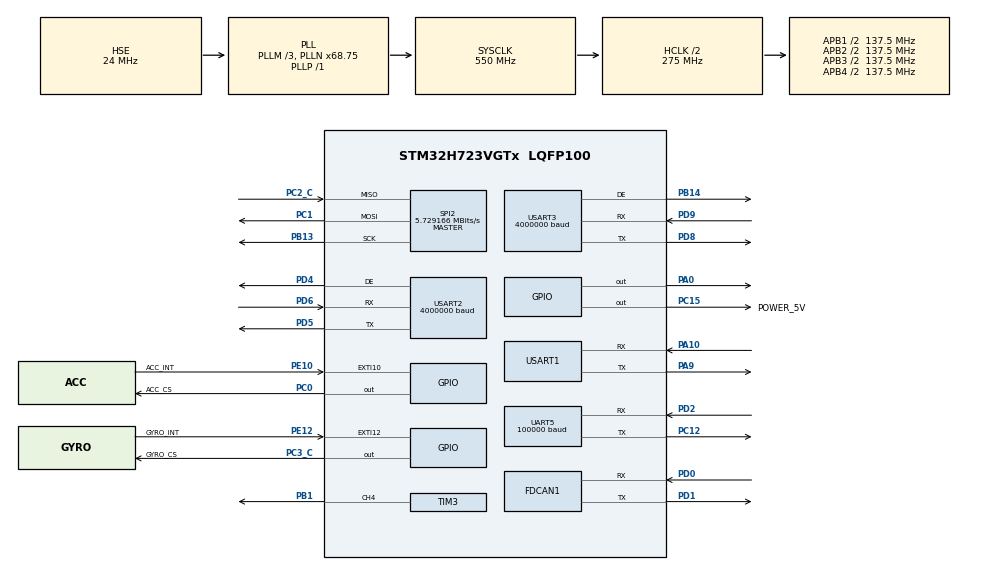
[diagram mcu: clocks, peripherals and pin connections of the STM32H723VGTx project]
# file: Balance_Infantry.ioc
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CORTEX_M7.AccessPermission-Cortex_Memory_Protection_Unit_Region0_Settings=MPU_REGION_FULL_ACCESS
CORTEX_M7.BaseAddress-Cortex_Memory_Protection_Unit_Region0_Settings=0x24000000
CORTEX_M7.CPU_DCache=Enabled
CORTEX_M7.CPU_ICache=Enabled
CORTEX_M7.Enable-Cortex_Memory_Protection_Unit_Region0_Settings=MPU_REGION_ENABLE
CORTEX_M7.IsBufferable-Cortex_Memory_Protection_Unit_Region0_Settings=MPU_ACCESS_BUFFERABLE
CORTEX_M7.IsCacheable-Cortex_Memory_Protection_Unit_Region0_Settings=MPU_ACCESS_CACHEABLE
CORTEX_M7.MPU_Control=MPU_PRIVILEGED_DEFAULT
CORTEX_M7.Size-Cortex_Memory_Protection_Unit_Region0_Settings=MPU_REGION_SIZE_512KB
CORTEX_M7.TypeExtField-Cortex_Memory_Protection_Unit_Region0_Settings=MPU_TEX_LEVEL0
Dma.Request0=SPI2_RX
Dma.Request1=SPI2_TX
Dma.Request2=USART2_RX
Dma.Request3=USART2_TX
Dma.Request4=USART3_RX
Dma.Request5=USART3_TX
Dma.Request6=UART5_RX
Dma.Request7=USART1_TX
Dma.Request8=USART1_RX
Dma.SPI2_RX.0.Direction=DMA_PERIPH_TO_MEMORY
Dma.SPI2_RX.0.EventEnable=DISABLE
Dma.SPI2_RX.0.FIFOMode=DMA_FIFOMODE_DISABLE
Dma.SPI2_RX.0.Instance=DMA1_Stream0
Dma.SPI2_RX.0.MemDataAlignment=DMA_MDATAALIGN_BYTE
Dma.SPI2_RX.0.MemInc=DMA_MINC_ENABLE
Dma.SPI2_RX.0.Mode=DMA_NORMAL
Dma.SPI2_RX.0.PeriphDataAlignment=DMA_PDATAALIGN_BYTE
Dma.SPI2_RX.0.PeriphInc=DMA_PINC_DISABLE
Dma.SPI2_RX.0.Polarity=HAL_DMAMUX_REQ_GEN_RISING
Dma.SPI2_RX.0.Priority=DMA_PRIORITY_VERY_HIGH
Dma.SPI2_RX.0.RequestNumber=1
Dma.SPI2_RX.0.SignalID=NONE
Dma.SPI2_RX.0.SyncEnable=DISABLE
Dma.SPI2_RX.0.SyncPolarity=HAL_DMAMUX_SYNC_NO_EVENT
Dma.SPI2_RX.0.SyncRequestNumber=1
Dma.SPI2_RX.0.SyncSignalID=NONE
Dma.SPI2_TX.1.Direction=DMA_MEMORY_TO_PERIPH
Dma.SPI2_TX.1.EventEnable=DISABLE
Dma.SPI2_TX.1.FIFOMode=DMA_FIFOMODE_DISABLE
Dma.SPI2_TX.1.Instance=DMA1_Stream1
Dma.SPI2_TX.1.MemDataAlignment=DMA_MDATAALIGN_BYTE
Dma.SPI2_TX.1.MemInc=DMA_MINC_ENABLE
Dma.SPI2_TX.1.Mode=DMA_NORMAL
Dma.SPI2_TX.1.PeriphDataAlignment=DMA_PDATAALIGN_BYTE
Dma.SPI2_TX.1.PeriphInc=DMA_PINC_DISABLE
Dma.SPI2_TX.1.Polarity=HAL_DMAMUX_REQ_GEN_RISING
Dma.SPI2_TX.1.Priority=DMA_PRIORITY_HIGH
Dma.SPI2_TX.1.RequestNumber=1
Dma.SPI2_TX.1.SignalID=NONE
Dma.SPI2_TX.1.SyncEnable=DISABLE
Dma.SPI2_TX.1.SyncPolarity=HAL_DMAMUX_SYNC_NO_EVENT
Dma.SPI2_TX.1.SyncRequestNumber=1
Dma.SPI2_TX.1.SyncSignalID=NONE
Dma.UART5_RX.6.Direction=DMA_PERIPH_TO_MEMORY
Dma.UART5_RX.6.EventEnable=DISABLE
Dma.UART5_RX.6.FIFOMode=DMA_FIFOMODE_DISABLE
Dma.UART5_RX.6.Instance=DMA1_Stream6
Dma.UART5_RX.6.MemDataAlignment=DMA_MDATAALIGN_BYTE
Dma.UART5_RX.6.MemInc=DMA_MINC_ENABLE
Dma.UART5_RX.6.Mode=DMA_NORMAL
Dma.UART5_RX.6.PeriphDataAlignment=DMA_PDATAALIGN_BYTE
Dma.UART5_RX.6.PeriphInc=DMA_PINC_DISABLE
Dma.UART5_RX.6.Polarity=HAL_DMAMUX_REQ_GEN_RISING
Dma.UART5_RX.6.Priority=DMA_PRIORITY_HIGH
Dma.UART5_RX.6.RequestNumber=1
Dma.UART5_RX.6.SignalID=NONE
Dma.UART5_RX.6.SyncEnable=DISABLE
Dma.UART5_RX.6.SyncPolarity=HAL_DMAMUX_SYNC_NO_EVENT
Dma.UART5_RX.6.SyncRequestNumber=1
Dma.UART5_RX.6.SyncSignalID=NONE
Dma.USART1_RX.8.Direction=DMA_PERIPH_TO_MEMORY
Dma.USART1_RX.8.EventEnable=DISABLE
Dma.USART1_RX.8.FIFOMode=DMA_FIFOMODE_DISABLE
Dma.USART1_RX.8.Instance=DMA2_Stream0
Dma.USART1_RX.8.MemDataAlignment=DMA_MDATAALIGN_BYTE
Dma.USART1_RX.8.MemInc=DMA_MINC_ENABLE
Dma.USART1_RX.8.Mode=DMA_NORMAL
Dma.USART1_RX.8.PeriphDataAlignment=DMA_PDATAALIGN_BYTE
Dma.USART1_RX.8.PeriphInc=DMA_PINC_DISABLE
Dma.USART1_RX.8.Polarity=HAL_DMAMUX_REQ_GEN_RISING
Dma.USART1_RX.8.Priority=DMA_PRIORITY_LOW
Dma.USART1_RX.8.RequestNumber=1
Dma.USART1_RX.8.SignalID=NONE
Dma.USART1_RX.8.SyncEnable=DISABLE
Dma.USART1_RX.8.SyncPolarity=HAL_DMAMUX_SYNC_NO_EVENT
Dma.USART1_RX.8.SyncRequestNumber=1
Dma.USART1_RX.8.SyncSignalID=NONE
Dma.USART1_TX.7.Direction=DMA_MEMORY_TO_PERIPH
Dma.USART1_TX.7.EventEnable=DISABLE
Dma.USART1_TX.7.FIFOMode=DMA_FIFOMODE_DISABLE
Dma.USART1_TX.7.Instance=DMA1_Stream7
Dma.USART1_TX.7.MemDataAlignment=DMA_MDATAALIGN_BYTE
Dma.USART1_TX.7.MemInc=DMA_MINC_ENABLE
Dma.USART1_TX.7.Mode=DMA_NORMAL
Dma.USART1_TX.7.PeriphDataAlignment=DMA_PDATAALIGN_BYTE
Dma.USART1_TX.7.PeriphInc=DMA_PINC_DISABLE
Dma.USART1_TX.7.Polarity=HAL_DMAMUX_REQ_GEN_RISING
Dma.USART1_TX.7.Priority=DMA_PRIORITY_LOW
Dma.USART1_TX.7.RequestNumber=1
Dma.USART1_TX.7.SignalID=NONE
Dma.USART1_TX.7.SyncEnable=DISABLE
Dma.USART1_TX.7.SyncPolarity=HAL_DMAMUX_SYNC_NO_EVENT
Dma.USART1_TX.7.SyncRequestNumber=1
Dma.USART1_TX.7.SyncSignalID=NONE
Dma.USART2_RX.2.Direction=DMA_PERIPH_TO_MEMORY
Dma.USART2_RX.2.EventEnable=DISABLE
Dma.USART2_RX.2.FIFOMode=DMA_FIFOMODE_DISABLE
Dma.USART2_RX.2.Instance=DMA1_Stream2
Dma.USART2_RX.2.MemDataAlignment=DMA_MDATAALIGN_BYTE
Dma.USART2_RX.2.MemInc=DMA_MINC_ENABLE
Dma.USART2_RX.2.Mode=DMA_NORMAL
Dma.USART2_RX.2.PeriphDataAlignment=DMA_PDATAALIGN_BYTE
Dma.USART2_RX.2.PeriphInc=DMA_PINC_DISABLE
Dma.USART2_RX.2.Polarity=HAL_DMAMUX_REQ_GEN_RISING
Dma.USART2_RX.2.Priority=DMA_PRIORITY_LOW
Dma.USART2_RX.2.RequestNumber=1
Dma.USART2_RX.2.SignalID=NONE
Dma.USART2_RX.2.SyncEnable=DISABLE
Dma.USART2_RX.2.SyncPolarity=HAL_DMAMUX_SYNC_NO_EVENT
Dma.USART2_RX.2.SyncRequestNumber=1
Dma.USART2_RX.2.SyncSignalID=NONE
Dma.USART2_TX.3.Direction=DMA_MEMORY_TO_PERIPH
Dma.USART2_TX.3.EventEnable=DISABLE
Dma.USART2_TX.3.FIFOMode=DMA_FIFOMODE_DISABLE
Dma.USART2_TX.3.Instance=DMA1_Stream3
Dma.USART2_TX.3.MemDataAlignment=DMA_MDATAALIGN_BYTE
Dma.USART2_TX.3.MemInc=DMA_MINC_ENABLE
Dma.USART2_TX.3.Mode=DMA_NORMAL
Dma.USART2_TX.3.PeriphDataAlignment=DMA_PDATAALIGN_BYTE
Dma.USART2_TX.3.PeriphInc=DMA_PINC_DISABLE
Dma.USART2_TX.3.Polarity=HAL_DMAMUX_REQ_GEN_RISING
Dma.USART2_TX.3.Priority=DMA_PRIORITY_LOW
Dma.USART2_TX.3.RequestNumber=1
Dma.USART2_TX.3.SignalID=NONE
Dma.USART2_TX.3.SyncEnable=DISABLE
Dma.USART2_TX.3.SyncPolarity=HAL_DMAMUX_SYNC_NO_EVENT
Dma.USART2_TX.3.SyncRequestNumber=1
Dma.USART2_TX.3.SyncSignalID=NONE
Dma.USART3_RX.4.Direction=DMA_PERIPH_TO_MEMORY
Dma.USART3_RX.4.EventEnable=DISABLE
Dma.USART3_RX.4.FIFOMode=DMA_FIFOMODE_DISABLE
Dma.USART3_RX.4.Instance=DMA1_Stream4
Dma.USART3_RX.4.MemDataAlignment=DMA_MDATAALIGN_BYTE
Dma.USART3_RX.4.MemInc=DMA_MINC_ENABLE
Dma.USART3_RX.4.Mode=DMA_NORMAL
Dma.USART3_RX.4.PeriphDataAlignment=DMA_PDATAALIGN_BYTE
Dma.USART3_RX.4.PeriphInc=DMA_PINC_DISABLE
Dma.USART3_RX.4.Polarity=HAL_DMAMUX_REQ_GEN_RISING
Dma.USART3_RX.4.Priority=DMA_PRIORITY_LOW
Dma.USART3_RX.4.RequestNumber=1
Dma.USART3_RX.4.SignalID=NONE
Dma.USART3_RX.4.SyncEnable=DISABLE
Dma.USART3_RX.4.SyncPolarity=HAL_DMAMUX_SYNC_NO_EVENT
Dma.USART3_RX.4.SyncRequestNumber=1
Dma.USART3_RX.4.SyncSignalID=NONE
Dma.USART3_TX.5.Direction=DMA_MEMORY_TO_PERIPH
Dma.USART3_TX.5.EventEnable=DISABLE
Dma.USART3_TX.5.FIFOMode=DMA_FIFOMODE_DISABLE
Dma.USART3_TX.5.Instance=DMA1_Stream5
Dma.USART3_TX.5.MemDataAlignment=DMA_MDATAALIGN_BYTE
Dma.USART3_TX.5.MemInc=DMA_MINC_ENABLE
Dma.USART3_TX.5.Mode=DMA_NORMAL
Dma.USART3_TX.5.PeriphDataAlignment=DMA_PDATAALIGN_BYTE
Dma.USART3_TX.5.PeriphInc=DMA_PINC_DISABLE
Dma.USART3_TX.5.Polarity=HAL_DMAMUX_REQ_GEN_RISING
Dma.USART3_TX.5.Priority=DMA_PRIORITY_LOW
Dma.USART3_TX.5.RequestNumber=1
Dma.USART3_TX.5.SignalID=NONE
Dma.USART3_TX.5.SyncEnable=DISABLE
Dma.USART3_TX.5.SyncPolarity=HAL_DMAMUX_SYNC_NO_EVENT
Dma.USART3_TX.5.SyncRequestNumber=1
Dma.USART3_TX.5.SyncSignalID=NONE
FDCAN1.CalculateBaudRateNominal=1000000
FDCAN1.CalculateTimeBitNominal=1000
FDCAN1.CalculateTimeQuantumNominal=83.33333333333333
FDCAN1.NominalPrescaler=8
FDCAN1.NominalTimeSeg1=4
FDCAN1.NominalTimeSeg2=7
FDCAN1.RxFifo0ElmtsNbr=32
FDCAN1.TxFifoQueueElmtsNbr=16
FREERTOS.BinarySemaphores01=imuBinarySem01,Static,imuBinarySemControlBlock
FREERTOS.INCLUDE_vTaskDelayUntil=1
FREERTOS.MEMORY_ALLOCATION=2
FREERTOS.Tasks01=defaultTask,0,128,StartDefaultTask,Default,NULL,Static,defaultTaskBuffer,defaultTaskControlBlock
FREERTOS.configTOTAL_HEAP_SIZE=30720
Mcu.Family=STM32H7
Mcu.Name=STM32H723VGTx
Mcu.Package=LQFP100
NVIC.DMA1_Stream0_IRQn=true\:6\:0\:true\:false\:true\:true\:false\:true\:true
NVIC.DMA1_Stream1_IRQn=true\:6\:0\:true\:false\:true\:true\:false\:true\:true
NVIC.DMA1_Stream2_IRQn=true\:5\:0\:false\:false\:true\:true\:false\:true\:true
NVIC.DMA1_Stream3_IRQn=true\:5\:0\:false\:false\:true\:true\:false\:true\:true
NVIC.DMA1_Stream4_IRQn=true\:5\:0\:false\:false\:true\:true\:false\:true\:true
NVIC.DMA1_Stream5_IRQn=true\:5\:0\:false\:false\:true\:true\:false\:true\:true
NVIC.DMA1_Stream6_IRQn=true\:5\:0\:false\:false\:true\:true\:false\:true\:true
NVIC.DMA1_Stream7_IRQn=true\:5\:0\:false\:false\:true\:true\:false\:true\:true
NVIC.DMA2_Stream0_IRQn=true\:5\:0\:false\:false\:true\:true\:false\:true\:true
NVIC.EXTI15_10_IRQn=true\:6\:0\:true\:false\:true\:true\:true\:true\:true
NVIC.FDCAN1_IT0_IRQn=true\:5\:0\:false\:false\:true\:true\:true\:true\:true
NVIC.FDCAN1_IT1_IRQn=true\:5\:0\:false\:false\:true\:true\:true\:true\:true
NVIC.PriorityGroup=NVIC_PRIORITYGROUP_4
NVIC.SPI2_IRQn=true\:6\:0\:true\:false\:true\:true\:false\:true\:true
NVIC.TIM1_UP_IRQn=true\:15\:0\:false\:false\:true\:false\:false\:true\:true
NVIC.TimeBase=TIM1_UP_IRQn
NVIC.TimeBaseIP=TIM1
NVIC.UART5_IRQn=true\:5\:0\:false\:false\:true\:true\:true\:true\:true
NVIC.USART1_IRQn=true\:5\:0\:false\:false\:true\:true\:true\:true\:true
NVIC.USART2_IRQn=true\:5\:0\:false\:false\:true\:true\:true\:true\:true
NVIC.USART3_IRQn=true\:5\:0\:false\:false\:true\:true\:true\:true\:true
PA0.GPIO_Speed=GPIO_SPEED_FREQ_VERY_HIGH
PA0.Signal=GPIO_Output
PA10.Mode=Asynchronous
PA10.Signal=USART1_RX
PA13(JTMS/SWDIO).Mode=Serial_Wire
PA13(JTMS/SWDIO).Signal=DEBUG_JTMS-SWDIO
PA14(JTCK/SWCLK).Mode=Serial_Wire
PA14(JTCK/SWCLK).Signal=DEBUG_JTCK-SWCLK
PA9.Mode=Asynchronous
PA9.Signal=USART1_TX
PB1.Signal=S_TIM3_CH4
PB13.GPIO_Speed=GPIO_SPEED_FREQ_VERY_HIGH
PB13.Mode=Full_Duplex_Master
PB13.Signal=SPI2_SCK
PB14.GPIO_Speed=GPIO_SPEED_FREQ_VERY_HIGH
PB14.Mode=Hardware Flow Control (RS485)
PB14.Signal=USART3_DE
PC0.GPIO_Label=ACC_CS
PC0.GPIO_Speed=GPIO_SPEED_FREQ_VERY_HIGH
PC0.PinState=GPIO_PIN_SET
PC0.Signal=GPIO_Output
PC1.GPIO_Speed=GPIO_SPEED_FREQ_VERY_HIGH
PC1.Mode=Full_Duplex_Master
PC1.Signal=SPI2_MOSI
PC12.GPIO_Speed=GPIO_SPEED_FREQ_VERY_HIGH
PC12.Mode=Asynchronous
PC12.Signal=UART5_TX
PC15-OSC32_OUT.GPIO_Label=POWER_5V
PC15-OSC32_OUT.PinState=GPIO_PIN_SET
PC15-OSC32_OUT.Signal=GPIO_Output
PC2_C.GPIO_Speed=GPIO_SPEED_FREQ_VERY_HIGH
PC2_C.Mode=Full_Duplex_Master
PC2_C.Signal=SPI2_MISO
PC3_C.GPIO_Label=GYRO_CS
PC3_C.GPIO_Speed=GPIO_SPEED_FREQ_VERY_HIGH
PC3_C.PinState=GPIO_PIN_SET
PC3_C.Signal=GPIO_Output
PD0.Mode=FDCAN_Activate
PD0.Signal=FDCAN1_RX
PD1.Mode=FDCAN_Activate
PD1.Signal=FDCAN1_TX
PD2.GPIO_Speed=GPIO_SPEED_FREQ_VERY_HIGH
PD2.Mode=Asynchronous
PD2.Signal=UART5_RX
PD4.GPIO_Speed=GPIO_SPEED_FREQ_VERY_HIGH
PD4.Mode=Hardware Flow Control (RS485)
PD4.Signal=USART2_DE
PD5.GPIO_Speed=GPIO_SPEED_FREQ_VERY_HIGH
PD5.Mode=Asynchronous
PD5.Signal=USART2_TX
PD6.GPIO_Speed=GPIO_SPEED_FREQ_VERY_HIGH
PD6.Mode=Asynchronous
PD6.Signal=USART2_RX
PD8.GPIO_Speed=GPIO_SPEED_FREQ_VERY_HIGH
PD8.Mode=Asynchronous
PD8.Signal=USART3_TX
PD9.GPIO_Speed=GPIO_SPEED_FREQ_VERY_HIGH
PD9.Mode=Asynchronous
PD9.Signal=USART3_RX
PE10.GPIO_Label=ACC_INT
PE10.Signal=GPXTI10
PE12.GPIO_Label=GYRO_INT
PE12.Signal=GPXTI12
PH0-OSC_IN.Mode=HSE-External-Oscillator
PH0-OSC_IN.Signal=RCC_OSC_IN
PH1-OSC_OUT.Mode=HSE-External-Oscillator
PH1-OSC_OUT.Signal=RCC_OSC_OUT
ProjectManager.HeapSize=0x200
ProjectManager.StackSize=0x800
ProjectManager.TargetToolchain=MDK-ARM V5.27
RCC.ADCFreq_Value=96000000
RCC.APB1Freq_Value=137500000
RCC.APB2Freq_Value=137500000
RCC.APB3Freq_Value=137500000
RCC.APB4Freq_Value=137500000
RCC.CortexFreq_Value=550000000
RCC.D1PPRE=RCC_APB3_DIV2
RCC.D2PPRE1=RCC_APB1_DIV2
RCC.D2PPRE2=RCC_APB2_DIV2
RCC.D3PPRE=RCC_APB4_DIV2
RCC.DIVM1=3
RCC.DIVM2=2
RCC.DIVN1=68
RCC.DIVN2=16
RCC.DIVP1=1
RCC.DIVQ1=3
RCC.FDCANCLockSelection=RCC_FDCANCLKSOURCE_PLL2
RCC.HCLKFreq_Value=275000000
RCC.HPRE=RCC_HCLK_DIV2
RCC.HSE_VALUE=24000000
RCC.PLL2FRACN=0
RCC.PLL3FRACN=0
RCC.PLLFRACN=6144
RCC.PLLSourceVirtual=RCC_PLLSOURCE_HSE
RCC.SYSCLKFreq_VALUE=550000000
RCC.SYSCLKSource=RCC_SYSCLKSOURCE_PLLCLK
RCC.USBFreq_Value=183333333.33333334
SH.S_TIM3_CH4.0=TIM3_CH4,PWM Generation4 CH4
SPI2.BaudRatePrescaler=SPI_BAUDRATEPRESCALER_32
SPI2.CLKPhase=SPI_PHASE_2EDGE
SPI2.CLKPolarity=SPI_POLARITY_HIGH
SPI2.CalculateBaudRate=5.729166 MBits/s
SPI2.DataSize=SPI_DATASIZE_8BIT
SPI2.Direction=SPI_DIRECTION_2LINES
SPI2.Mode=SPI_MODE_MASTER
SPI2.VirtualType=VM_MASTER
TIM3.AutoReloadPreload=TIM_AUTORELOAD_PRELOAD_ENABLE
TIM3.Channel-PWM\ Generation4\ CH4=TIM_CHANNEL_4
TIM3.Period=10000-1
TIM3.Prescaler=24-1
UART5.BaudRate=100000
UART5.DMADisableonRxErrorParam=UART_ADVFEATURE_DMA_DISABLEONRXERROR
UART5.OverrunDisableParam=UART_ADVFEATURE_OVERRUN_DISABLE
UART5.Parity=PARITY_EVEN
UART5.WordLength=WORDLENGTH_9B
USART1.DMADisableonRxErrorParam=ADVFEATURE_DMA_DISABLEONRXERROR
USART1.OverrunDisableParam=ADVFEATURE_OVERRUN_DISABLE
USART1.VirtualMode-Asynchronous=VM_ASYNC
USART2.BaudRate=4000000
USART2.DMADisableonRxErrorParam=ADVFEATURE_DMA_DISABLEONRXERROR
USART2.OverSampling=UART_OVERSAMPLING_8
USART2.OverrunDisableParam=ADVFEATURE_OVERRUN_DISABLE
USART2.VirtualMode-Asynchronous=VM_ASYNC
USART2.VirtualMode-Hardware\ Flow\ Control\ (RS485)=VM_ASYNC
USART3.BaudRate=4000000
USART3.DMADisableonRxErrorParam=ADVFEATURE_DMA_DISABLEONRXERROR
USART3.OverSampling=UART_OVERSAMPLING_8
USART3.OverrunDisableParam=ADVFEATURE_OVERRUN_DISABLE
USART3.VirtualMode-Asynchronous=VM_ASYNC
USART3.VirtualMode-Hardware\ Flow\ Control\ (RS485)=VM_ASYNC
VP_FREERTOS_VS_CMSIS_V1.Mode=CMSIS_V1
VP_SYS_VS_tim1.Mode=TIM1
board=custom

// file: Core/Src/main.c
/* USER CODE BEGIN Header */
/**
  ******************************************************************************
  * @file           : main.c
  * @brief          : Main program body
  ******************************************************************************
  * @attention
  *
  * Copyright (c) 2024 STMicroelectronics.
  * All rights reserved.
  *
  * This software is licensed under terms that can be found in the LICENSE file
  * in the root directory of this software component.
  * If no LICENSE file comes with this software, it is provided AS-IS.
  *
  ******************************************************************************
  */
/* USER CODE END Header */
#include "main.h"
#include "cmsis_os.h"
#include "dma.h"
#include "fdcan.h"
#include "spi.h"
#include "tim.h"
#include "usart.h"
#include "gpio.h"

/* USER CODE BEGIN Includes */
#include "GO1_drv.h"
#include "bsp_can.h"
#include "BMI088driver.h"
#include "kalman_filter.h"
#include "mahony_filter.h"
#include "bsp_dwt.h"
#include "BMI088Middleware.h"
/* USER CODE END Includes */

void SystemClock_Config(void);
static void MPU_Config(void);
void MX_FREERTOS_Init(void);

int main(void)
{

  /* MPU Configuration--------------------------------------------------------*/
  MPU_Config();
/* Enable the CPU Cache */

  /* Enable I-Cache---------------------------------------------------------*/
  SCB_EnableICache();

  /* Enable D-Cache---------------------------------------------------------*/
  SCB_EnableDCache();

  /* MCU Configuration--------------------------------------------------------*/

  /* Reset of all peripherals, Initializes the Flash interface and the Systick. */
  HAL_Init();

  /* Configure the system clock */
  SystemClock_Config();

  /* Initialize all configured peripherals */
  MX_GPIO_Init();
  MX_DMA_Init();
  MX_SPI2_Init();
  MX_TIM3_Init();
  MX_USART2_UART_Init();
  MX_USART3_UART_Init();
  MX_FDCAN1_Init();
  MX_UART5_Init();
  MX_USART1_UART_Init();
  /* USER CODE BEGIN 2 */
  FDCAN1_Config();

  __HAL_UART_ENABLE_IT(&huart2, UART_IT_IDLE);  //开启空闲中断
  HAL_UART_Receive_DMA(&huart2,Usart2Type.RX_pData,16);//开启串口DMA接收
  __HAL_UART_ENABLE_IT(&huart3, UART_IT_IDLE);  //开启空闲中断
  HAL_UART_Receive_DMA(&huart3,Usart3Type.RX_pData,16);//开启串口DMA接收

//  remote_control_init();

	DWT_Init(480);
  while (BMI088_init(&hspi2, 0) != BMI088_NO_ERROR)
	{
	  ;
	}
  /* USER CODE END 2 */

  /* Call init function for freertos objects (in freertos.c) */
  MX_FREERTOS_Init();

  /* Start scheduler */
  osKernelStart();

  /* We should never get here as control is now taken by the scheduler */
  /* Infinite loop */
  while (1)
  {

  }
}

void SystemClock_Config(void)
{
  RCC_OscInitTypeDef RCC_OscInitStruct = {0};
  RCC_ClkInitTypeDef RCC_ClkInitStruct = {0};

  /** Supply configuration update enable
  */
  HAL_PWREx_ConfigSupply(PWR_LDO_SUPPLY);

  /** Configure the main internal regulator output voltage
  */
  __HAL_PWR_VOLTAGESCALING_CONFIG(PWR_REGULATOR_VOLTAGE_SCALE0);

  while(!__HAL_PWR_GET_FLAG(PWR_FLAG_VOSRDY)) {}

  /** Initializes the RCC Oscillators according to the specified parameters
  * in the RCC_OscInitTypeDef structure.
  */
  RCC_OscInitStruct.OscillatorType = RCC_OSCILLATORTYPE_HSE;
  RCC_OscInitStruct.HSEState = RCC_HSE_ON;
  RCC_OscInitStruct.PLL.PLLState = RCC_PLL_ON;
  RCC_OscInitStruct.PLL.PLLSource = RCC_PLLSOURCE_HSE;
  RCC_OscInitStruct.PLL.PLLM = 3;
  RCC_OscInitStruct.PLL.PLLN = 68;
  RCC_OscInitStruct.PLL.PLLP = 1;
  RCC_OscInitStruct.PLL.PLLQ = 3;
  RCC_OscInitStruct.PLL.PLLR = 2;
  RCC_OscInitStruct.PLL.PLLRGE = RCC_PLL1VCIRANGE_3;
  RCC_OscInitStruct.PLL.PLLVCOSEL = RCC_PLL1VCOWIDE;
  RCC_OscInitStruct.PLL.PLLFRACN = 6144;
  if (HAL_RCC_OscConfig(&RCC_OscInitStruct) != HAL_OK)
  {
    Error_Handler();
  }

  /** Initializes the CPU, AHB and APB buses clocks
  */
  RCC_ClkInitStruct.ClockType = RCC_CLOCKTYPE_HCLK|RCC_CLOCKTYPE_SYSCLK
                              |RCC_CLOCKTYPE_PCLK1|RCC_CLOCKTYPE_PCLK2
                              |RCC_CLOCKTYPE_D3PCLK1|RCC_CLOCKTYPE_D1PCLK1;
  RCC_ClkInitStruct.SYSCLKSource = RCC_SYSCLKSOURCE_PLLCLK;
  RCC_ClkInitStruct.SYSCLKDivider = RCC_SYSCLK_DIV1;
  RCC_ClkInitStruct.AHBCLKDivider = RCC_HCLK_DIV2;
  RCC_ClkInitStruct.APB3CLKDivider = RCC_APB3_DIV2;
  RCC_ClkInitStruct.APB1CLKDivider = RCC_APB1_DIV2;
  RCC_ClkInitStruct.APB2CLKDivider = RCC_APB2_DIV2;
  RCC_ClkInitStruct.APB4CLKDivider = RCC_APB4_DIV2;

  if (HAL_RCC_ClockConfig(&RCC_ClkInitStruct, FLASH_LATENCY_3) != HAL_OK)
  {
    Error_Handler();
  }
}

/* MPU Configuration */

void MPU_Config(void)
{
  MPU_Region_InitTypeDef MPU_InitStruct = {0};

  /* Disables the MPU */
  HAL_MPU_Disable();

  /** Initializes and configures the Region and the memory to be protected
  */
  MPU_InitStruct.Enable = MPU_REGION_ENABLE;
  MPU_InitStruct.Number = MPU_REGION_NUMBER0;
  MPU_InitStruct.BaseAddress = 0x24000000;
  MPU_InitStruct.Size = MPU_REGION_SIZE_512KB;
  MPU_InitStruct.SubRegionDisable = 0x0;
  MPU_InitStruct.TypeExtField = MPU_TEX_LEVEL0;
  MPU_InitStruct.AccessPermission = MPU_REGION_FULL_ACCESS;
  MPU_InitStruct.DisableExec = MPU_INSTRUCTION_ACCESS_ENABLE;
  MPU_InitStruct.IsShareable = MPU_ACCESS_NOT_SHAREABLE;
  MPU_InitStruct.IsCacheable = MPU_ACCESS_CACHEABLE;
  MPU_InitStruct.IsBufferable = MPU_ACCESS_BUFFERABLE;

  HAL_MPU_ConfigRegion(&MPU_InitStruct);
  /* Enables the MPU */
  HAL_MPU_Enable(MPU_PRIVILEGED_DEFAULT);

}

void HAL_TIM_PeriodElapsedCallback(TIM_HandleTypeDef *htim)
{
  if (htim->Instance == TIM1) {
    HAL_IncTick();
  }
}

void Error_Handler(void)
{
  __disable_irq();
  while (1)
  {
  }
}
